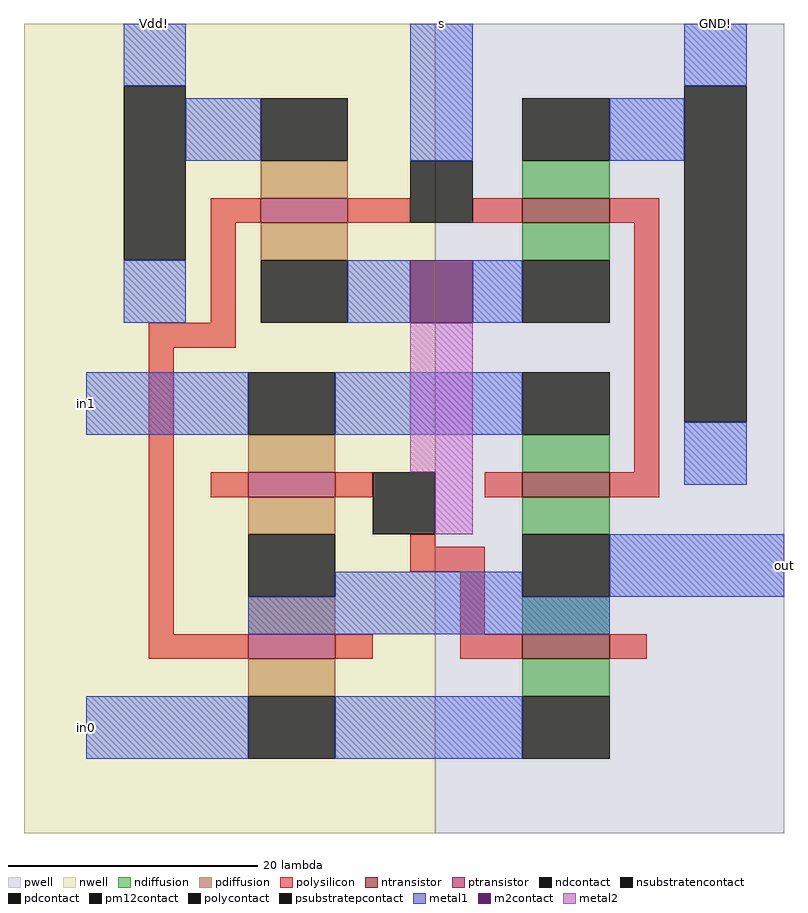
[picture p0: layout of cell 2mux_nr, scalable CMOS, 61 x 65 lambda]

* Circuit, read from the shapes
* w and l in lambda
.subckt 2mux_nr GND! Vdd! in0 in1 out s
M1 out n1 in0 GND! nfet w=7 l=2
M2 in1 s out GND! nfet w=7 l=2
M3 GND! s n1 GND! nfet w=7 l=2
M4 out s in0 Vdd! pfet w=7 l=2
M5 in1 n1 out Vdd! pfet w=7 l=2
M6 Vdd! s n1 Vdd! pfet w=7 l=2
.ends

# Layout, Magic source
magic
tech scmos
<< nwell >>
rect -32 -38 1 27
<< pwell >>
rect 1 -38 29 27
<< ntransistor >>
rect 8 11 15 13
rect 8 -11 15 -9
rect 8 -24 15 -22
<< ptransistor >>
rect -13 11 -6 13
rect -14 -11 -7 -9
rect -14 -24 -7 -22
<< ndiffusion >>
rect 8 13 15 16
rect 8 8 15 11
rect 8 -9 15 -6
rect 8 -14 15 -11
rect 8 -22 15 -19
rect 8 -27 15 -24
<< pdiffusion >>
rect -13 13 -6 16
rect -13 8 -6 11
rect -14 -9 -7 -6
rect -14 -14 -7 -11
rect -14 -22 -7 -19
rect -14 -27 -7 -24
<< ndcontact >>
rect 8 16 15 21
rect 8 3 15 8
rect 8 -6 15 -1
rect 8 -19 15 -14
rect 8 -32 15 -27
<< pdcontact >>
rect -13 16 -6 21
rect -13 3 -6 8
rect -14 -6 -7 -1
rect -14 -19 -7 -14
rect -14 -32 -7 -27
<< psubstratepcontact >>
rect 21 -5 26 22
<< nsubstratencontact >>
rect -24 8 -19 22
<< polysilicon >>
rect -17 11 -13 13
rect -6 11 -1 13
rect 4 11 8 13
rect 15 11 19 13
rect -17 3 -15 11
rect -22 1 -15 3
rect -22 -22 -20 1
rect 17 -9 19 11
rect -17 -11 -14 -9
rect -7 -11 -4 -9
rect 5 -11 8 -9
rect 15 -11 19 -9
rect -1 -15 1 -14
rect -1 -17 5 -15
rect 3 -22 5 -17
rect -22 -24 -14 -22
rect -7 -24 -4 -22
rect 3 -24 8 -22
rect 15 -24 18 -22
<< polycontact >>
rect -1 11 4 16
<< metal1 >>
rect -24 22 -19 27
rect -19 16 -13 21
rect -1 16 4 27
rect 21 22 26 27
rect 15 16 21 21
rect -24 3 -19 8
rect -6 3 -1 8
rect 4 3 8 8
rect -27 -6 -14 -1
rect -7 -6 8 -1
rect 21 -10 26 -5
rect -7 -19 8 -17
rect 15 -19 29 -14
rect -14 -22 15 -19
rect -27 -32 -14 -27
rect -7 -32 8 -27
<< m2contact >>
rect -1 3 4 8
<< pm12contact >>
rect -4 -14 1 -9
<< metal2 >>
rect -1 -9 4 3
rect 1 -14 4 -9
<< labels >>
rlabel metal1 -1 27 4 27 5 s
rlabel metal1 21 27 26 27 5 GND!
rlabel metal1 29 -19 29 -14 7 out
rlabel metal1 -24 27 -19 27 5 Vdd!
rlabel metal1 -27 -6 -27 -1 3 in1
rlabel metal1 -27 -32 -27 -27 3 in0
<< end >>
